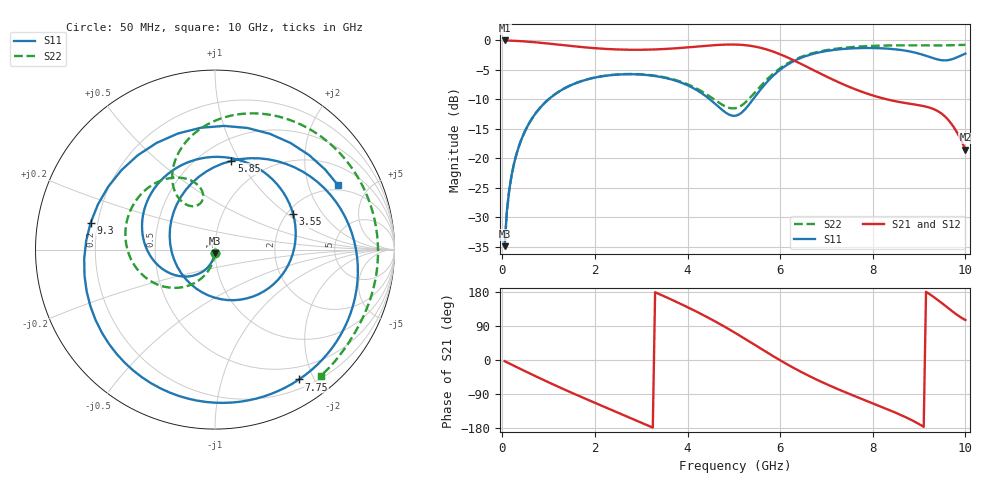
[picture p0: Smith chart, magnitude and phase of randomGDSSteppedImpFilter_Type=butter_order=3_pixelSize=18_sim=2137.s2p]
! freq	dB(S11)	phase(S11)	dB(S12)	phase(S12)
!  dB(S21)	phase(S21)	dB(S22)	phase(S22)
!S-par simulation data
#  GHz  S  DB  R 50
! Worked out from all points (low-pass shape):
!   200 points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, 50 MHz to 10 GHz, reference 50 ohm
!   highest |S21| = 0.00 dB at 50 MHz (marker M1); lowest = -18.5 dB at 10 GHz (marker M2)
!   |S21| within 3 dB of the highest: start of sweep to 6.193 GHz
!   lowest |S11| = -34.9 dB at 50 MHz (marker M3), VSWR 1.04, Z = 49.9 - j1.8 ohm
!   |S11| at or under -10 dB: start of sweep to 996.6 MHz; 4.485 GHz to 5.413 GHz (927.9 MHz wide, 18.7 % of centre)
!   |S22| runs from -34.9 to -0.8 dB; largest |S21 - S12| = 0
!   S11 on the Smith chart (normalised r, x): 50 MHz: 1.00, -0.04; 3.55 GHz: 2.15, +1.11; 5.85 GHz: 0.70, +0.93; 7.75 GHz: 0.32, -1.80; 9.3 GHz: 0.17, +0.10; 10 GHz: 1.76, +3.15
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0.05  -34.86 -93.5  -0.00 -3.1  -0.00 -3.1  -34.85 -92.4
0.2  -22.89 -104.8  -0.04 -12.1  -0.04 -12.1  -22.88 -100.1
0.5  -15.22 -126.3  -0.18 -30.0  -0.18 -30.0  -15.20 -114.8
1.1  -9.34 -168.1  -0.62 -64.6  -0.62 -64.6  -9.32 -142.3
1.75  -6.80 148.3  -1.15 -99.8  -1.15 -99.8  -6.78 -169.2
2.6  -5.74 91.9  -1.56 -144.1  -1.56 -144.1  -5.71 159.0
3.4  -6.16 35.9  -1.49 173.4  -1.49 173.4  -6.10 131.0
3.55  -6.41 24.6  -1.43 165.2  -1.43 165.2  -6.33 126.0
4.45  -9.78 -57.0  -0.88 111.5  -0.88 111.5  -9.34 102.7
5.05  -12.74 -155.8  -0.70 70.0  -0.70 70.0  -11.45 115.1
5.45  -9.61 129.9  -1.03 40.1  -1.03 40.1  -8.85 125.2
5.85  -5.97 79.5  -1.90 10.1  -1.90 10.1  -5.64 116.2
6.2  -3.91 45.8  -3.03 -14.8  -3.03 -14.8  -3.71 100.9
6.7  -2.30 7.1  -4.96 -46.6  -4.96 -46.6  -2.16 76.6
7.2  -1.57 -25.1  -6.87 -74.5  -6.87 -74.5  -1.41 53.2
7.75  -1.29 -57.1  -8.66 -102.1  -8.66 -102.1  -1.02 29.4
8.35  -1.41 -93.4  -10.07 -131.6  -10.07 -131.6  -0.85 5.5
8.85  -1.95 -133.3  -10.79 -159.3  -10.79 -159.3  -0.83 -12.8
9.3  -2.99 167.8  -11.59 167.7  -11.59 167.7  -0.86 -27.8
9.65  -3.31 96.7  -13.65 134.9  -13.65 134.9  -0.82 -38.8
9.8  -2.93 64.7  -15.34 121.0  -15.34 121.0  -0.79 -43.5
10  -2.23 27.7  -18.50 105.4  -18.50 105.4  -0.75 -49.9
